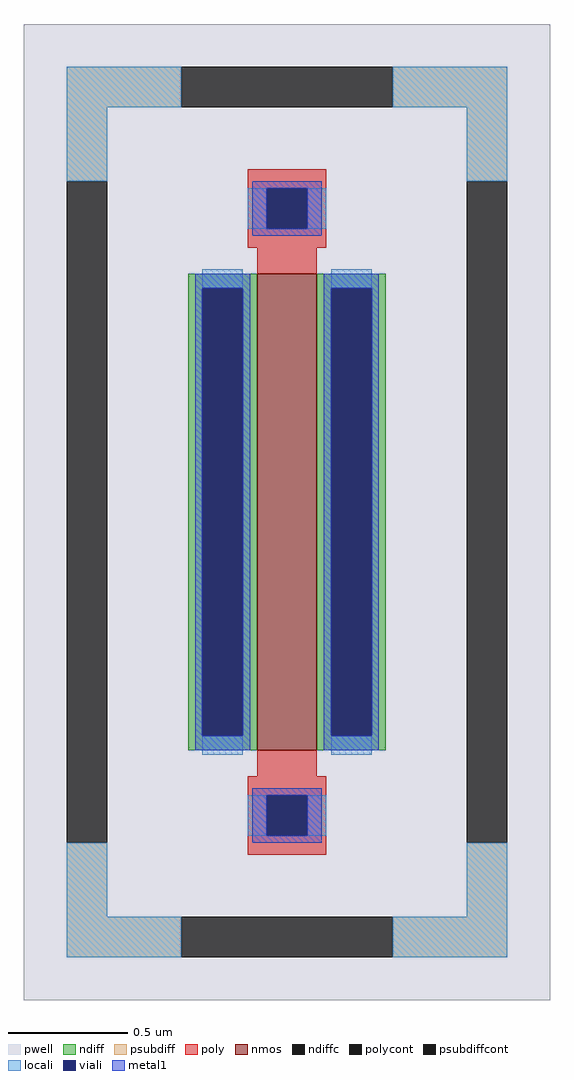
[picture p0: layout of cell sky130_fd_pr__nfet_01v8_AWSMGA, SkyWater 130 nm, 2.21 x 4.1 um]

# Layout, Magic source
magic
tech sky130A
magscale 1 2
<< pwell >>
rect -221 -410 221 410
<< nmos >>
rect -25 -200 25 200
<< ndiff >>
rect -83 188 -25 200
rect -83 -188 -71 188
rect -37 -188 -25 188
rect -83 -200 -25 -188
rect 25 188 83 200
rect 25 -188 37 188
rect 71 -188 83 188
rect 25 -200 83 -188
<< ndiffc >>
rect -71 -188 -37 188
rect 37 -188 71 188
<< psubdiff >>
rect -185 340 -89 374
rect 89 340 185 374
rect -185 278 -151 340
rect 151 278 185 340
rect -185 -340 -151 -278
rect 151 -340 185 -278
rect -185 -374 -89 -340
rect 89 -374 185 -340
<< psubdiffcont >>
rect -89 340 89 374
rect -185 -278 -151 278
rect 151 -278 185 278
rect -89 -374 89 -340
<< poly >>
rect -33 272 33 288
rect -33 238 -17 272
rect 17 238 33 272
rect -33 222 33 238
rect -25 200 25 222
rect -25 -222 25 -200
rect -33 -238 33 -222
rect -33 -272 -17 -238
rect 17 -272 33 -238
rect -33 -288 33 -272
<< polycont >>
rect -17 238 17 272
rect -17 -272 17 -238
<< locali >>
rect -185 340 -89 374
rect 89 340 185 374
rect -185 278 -151 340
rect 151 278 185 340
rect -33 238 -17 272
rect 17 238 33 272
rect -71 188 -37 204
rect -71 -204 -37 -188
rect 37 188 71 204
rect 37 -204 71 -188
rect -33 -272 -17 -238
rect 17 -272 33 -238
rect -185 -340 -151 -278
rect 151 -340 185 -278
rect -185 -374 -89 -340
rect 89 -374 185 -340
<< viali >>
rect -17 238 17 272
rect -71 -188 -37 188
rect 37 -188 71 188
rect -17 -272 17 -238
<< metal1 >>
rect -29 272 29 278
rect -29 238 -17 272
rect 17 238 29 272
rect -29 232 29 238
rect -77 188 -31 200
rect -77 -188 -71 188
rect -37 -188 -31 188
rect -77 -200 -31 -188
rect 31 188 77 200
rect 31 -188 37 188
rect 71 -188 77 188
rect 31 -200 77 -188
rect -29 -238 29 -232
rect -29 -272 -17 -238
rect 17 -272 29 -238
rect -29 -278 29 -272
<< properties >>
string FIXED_BBOX -168 -357 168 357
string gencell sky130_fd_pr__nfet_01v8
string library sky130
string parameters w 2.0 l 0.25 m 1 nf 1 diffcov 100 polycov 100 guard 1 glc 1 grc 1 gtc 1 gbc 1 tbcov 100 rlcov 100 topc 1 botc 1 poverlap 0 doverlap 1 lmin 0.15 wmin 0.42 compatible {sky130_fd_pr__nfet_01v8 sky130_fd_pr__nfet_01v8_lvt  sky130_fd_bs_flash__special_sonosfet_star  sky130_fd_pr__nfet_g5v0d10v5 sky130_fd_pr__nfet_05v0_nvt  sky130_fd_pr__nfet_03v3_nvt} full_metal 1 viasrc 100 viadrn 100 viagate 100 viagb 0 viagr 0 viagl 0 viagt 0
<< end >>
